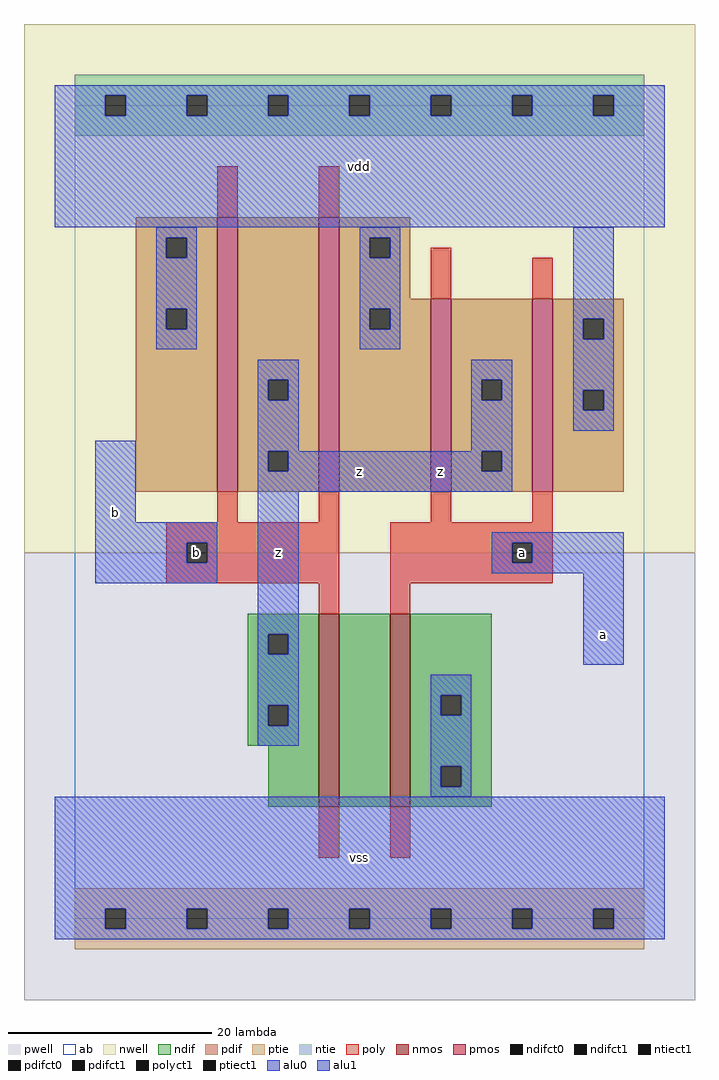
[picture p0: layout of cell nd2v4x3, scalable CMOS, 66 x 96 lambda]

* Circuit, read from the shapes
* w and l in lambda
.subckt nd2v4x3 a b vdd vss z
M1 n1 b z vss nfet w=19 l=2
M2 vss a n1 vss nfet w=19 l=2
M3 z b vdd vdd pfet w=27 l=2 m=2
M4 z a vdd vdd pfet w=19 l=2 m=2
.ends

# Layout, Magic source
magic
tech scmos
<< ab >>
rect 0 0 56 80
<< nwell >>
rect -5 36 61 88
<< pwell >>
rect -5 -8 61 36
<< poly >>
rect 14 69 16 74
rect 24 69 26 74
rect 35 61 37 66
rect 45 61 47 65
rect 14 39 16 42
rect 24 39 26 42
rect 35 39 37 42
rect 45 39 47 42
rect 9 37 26 39
rect 9 35 11 37
rect 13 35 26 37
rect 9 33 26 35
rect 24 30 26 33
rect 31 37 47 39
rect 31 35 43 37
rect 45 35 47 37
rect 31 33 47 35
rect 31 30 33 33
rect 24 6 26 11
rect 31 6 33 11
<< ndif >>
rect 17 28 24 30
rect 17 26 19 28
rect 21 26 24 28
rect 17 21 24 26
rect 17 19 19 21
rect 21 19 24 21
rect 17 17 24 19
rect 19 11 24 17
rect 26 11 31 30
rect 33 22 41 30
rect 33 20 36 22
rect 38 20 41 22
rect 33 15 41 20
rect 33 13 36 15
rect 38 13 41 15
rect 33 11 41 13
<< pdif >>
rect 6 67 14 69
rect 6 65 9 67
rect 11 65 14 67
rect 6 60 14 65
rect 6 58 9 60
rect 11 58 14 60
rect 6 42 14 58
rect 16 53 24 69
rect 16 51 19 53
rect 21 51 24 53
rect 16 46 24 51
rect 16 44 19 46
rect 21 44 24 46
rect 16 42 24 44
rect 26 67 33 69
rect 26 65 29 67
rect 31 65 33 67
rect 26 61 33 65
rect 26 60 35 61
rect 26 58 29 60
rect 31 58 35 60
rect 26 42 35 58
rect 37 53 45 61
rect 37 51 40 53
rect 42 51 45 53
rect 37 46 45 51
rect 37 44 40 46
rect 42 44 45 46
rect 37 42 45 44
rect 47 59 54 61
rect 47 57 50 59
rect 52 57 54 59
rect 47 52 54 57
rect 47 50 50 52
rect 52 50 54 52
rect 47 42 54 50
<< alu1 >>
rect -2 81 58 82
rect -2 79 3 81
rect 5 79 11 81
rect 13 79 19 81
rect 21 79 27 81
rect 29 79 35 81
rect 37 79 43 81
rect 45 79 51 81
rect 53 79 58 81
rect -2 68 58 79
rect 18 53 22 55
rect 18 51 19 53
rect 21 51 22 53
rect 2 39 6 47
rect 18 46 22 51
rect 39 53 43 55
rect 39 51 40 53
rect 42 51 43 53
rect 39 46 43 51
rect 18 44 19 46
rect 21 44 40 46
rect 42 44 43 46
rect 18 42 43 44
rect 2 37 14 39
rect 2 35 11 37
rect 13 35 14 37
rect 2 33 14 35
rect 18 28 22 42
rect 41 37 54 38
rect 41 35 43 37
rect 45 35 54 37
rect 41 34 54 35
rect 18 26 19 28
rect 21 26 22 28
rect 18 21 22 26
rect 50 25 54 34
rect 18 19 19 21
rect 21 19 22 21
rect 18 17 22 19
rect -2 1 58 12
rect -2 -1 3 1
rect 5 -1 11 1
rect 13 -1 19 1
rect 21 -1 27 1
rect 29 -1 35 1
rect 37 -1 43 1
rect 45 -1 51 1
rect 53 -1 58 1
rect -2 -2 58 -1
<< ptie >>
rect 0 1 56 3
rect 0 -1 3 1
rect 5 -1 11 1
rect 13 -1 19 1
rect 21 -1 27 1
rect 29 -1 35 1
rect 37 -1 43 1
rect 45 -1 51 1
rect 53 -1 56 1
rect 0 -3 56 -1
<< ntie >>
rect 0 81 56 83
rect 0 79 3 81
rect 5 79 11 81
rect 13 79 19 81
rect 21 79 27 81
rect 29 79 35 81
rect 37 79 43 81
rect 45 79 51 81
rect 53 79 56 81
rect 0 77 56 79
<< nmos >>
rect 24 11 26 30
rect 31 11 33 30
<< pmos >>
rect 14 42 16 69
rect 24 42 26 69
rect 35 42 37 61
rect 45 42 47 61
<< polyct1 >>
rect 11 35 13 37
rect 43 35 45 37
<< ndifct0 >>
rect 36 20 38 22
rect 36 13 38 15
<< ndifct1 >>
rect 19 26 21 28
rect 19 19 21 21
<< ntiect1 >>
rect 3 79 5 81
rect 11 79 13 81
rect 19 79 21 81
rect 27 79 29 81
rect 35 79 37 81
rect 43 79 45 81
rect 51 79 53 81
<< ptiect1 >>
rect 3 -1 5 1
rect 11 -1 13 1
rect 19 -1 21 1
rect 27 -1 29 1
rect 35 -1 37 1
rect 43 -1 45 1
rect 51 -1 53 1
<< pdifct0 >>
rect 9 65 11 67
rect 9 58 11 60
rect 29 65 31 67
rect 29 58 31 60
rect 50 57 52 59
rect 50 50 52 52
<< pdifct1 >>
rect 19 51 21 53
rect 19 44 21 46
rect 40 51 42 53
rect 40 44 42 46
<< alu0 >>
rect 8 67 12 68
rect 8 65 9 67
rect 11 65 12 67
rect 8 60 12 65
rect 8 58 9 60
rect 11 58 12 60
rect 8 56 12 58
rect 28 67 32 68
rect 28 65 29 67
rect 31 65 32 67
rect 28 60 32 65
rect 28 58 29 60
rect 31 58 32 60
rect 28 56 32 58
rect 49 59 53 68
rect 49 57 50 59
rect 52 57 53 59
rect 49 52 53 57
rect 49 50 50 52
rect 52 50 53 52
rect 49 48 53 50
rect 35 22 39 24
rect 35 20 36 22
rect 38 20 39 22
rect 35 15 39 20
rect 35 13 36 15
rect 38 13 39 15
rect 35 12 39 13
<< labels >>
rlabel alu1 4 40 4 40 6 b
rlabel polyct1 12 36 12 36 6 b
rlabel alu1 20 36 20 36 6 z
rlabel alu1 28 6 28 6 6 vss
rlabel alu1 36 44 36 44 6 z
rlabel alu1 28 44 28 44 6 z
rlabel alu1 28 74 28 74 6 vdd
rlabel polyct1 44 36 44 36 6 a
rlabel alu1 52 28 52 28 6 a
<< end >>
